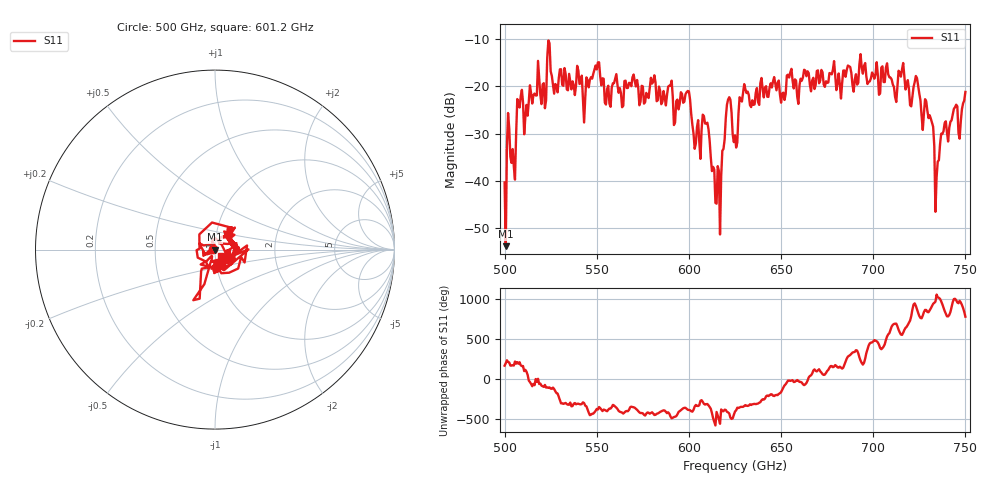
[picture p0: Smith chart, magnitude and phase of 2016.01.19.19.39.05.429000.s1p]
!Created with skrf (http://scikit-rf.org).
# GHz S RI R 50.0
!freq ReS11 ImS11
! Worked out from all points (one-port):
!   401 points, 500 GHz to 750 GHz, reference 50 ohm
!   lowest |S11| = -53.8 dB at 500.6 GHz (marker M1), VSWR 1.00, Z = 49.8 - j0.0504 ohm
!   |S11| at or under -10 dB: start of sweep to end of sweep
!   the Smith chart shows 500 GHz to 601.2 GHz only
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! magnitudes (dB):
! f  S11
! 500 GHz  -40.3
! 500.6 GHz  -53.8
! 502.5 GHz  -28.8
! 505 GHz  -37.0
! 508.1 GHz  -24.5
! 521.2 GHz  -19.3
! 524.4 GHz  -10.9
! 527.5 GHz  -19.5
! 531.2 GHz  -19.6
! 543.8 GHz  -22.4
! 550 GHz  -16.4
! 562.5 GHz  -20.4
! 580.6 GHz  -19.0
! 593.8 GHz  -22.8
! 599.4 GHz  -21.0
! 605 GHz  -27.1
! 608.8 GHz  -27.9
! 615.6 GHz  -36.9
! 621.2 GHz  -22.8
! 625 GHz  -30.4
! 630.6 GHz  -20.6
! 656.2 GHz  -18.8
! 687.5 GHz  -15.9
! 718.8 GHz  -18.7
! 729.4 GHz  -25.2
! 734.4 GHz  -39.2
! 738.1 GHz  -29.5
! 750 GHz  -21.2
